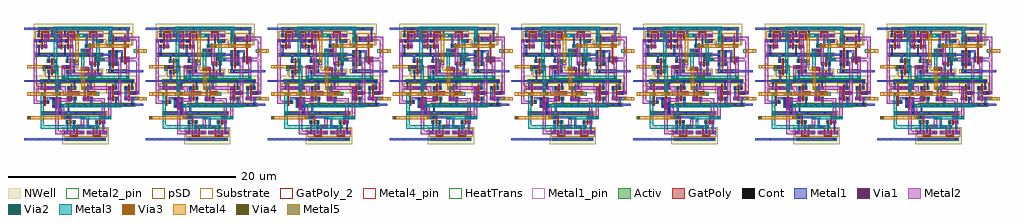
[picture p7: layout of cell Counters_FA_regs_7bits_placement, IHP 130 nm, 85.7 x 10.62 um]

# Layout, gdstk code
from math import pi, radians
import gdstk
lib = gdstk.Library(unit=1e-6, precision=5e-09)
def R(c, l, rs):  # rectangles x0, y0, x1, y1
    for r in rs: c.add(gdstk.rectangle(r[:2], r[2:], *l))
def A(c, l, x, y, w, h, nx, ny, dx, dy):  # array of equal rectangles
    R(c, l, [(x+i*dx, y+j*dy, x+i*dx+w, y+j*dy+h) for i in range(nx) for j in range(ny)])
Activ = (1, 0)
GatPoly = (5, 0)
GatPoly_2 = (5, 2)
Cont = (6, 0)
Metal1 = (8, 0)
Metal1_pin = (8, 2)
Metal2 = (10, 0)
Metal2_pin = (10, 2)
pSD = (14, 0)
Via1 = (19, 0)
Via2 = (29, 0)
Metal3 = (30, 0)
NWell = (31, 0)
Substrate = (40, 0)
Via3 = (49, 0)
Metal4 = (50, 0)
Metal4_pin = (50, 2)
HeatTrans = (51, 0)
Via4 = (66, 0)
Metal5 = (67, 0)

pmos_2_1 = lib.new_cell('pmos$2$1')
R(pmos_2_1, Activ, [(0,0,0.3,0.3), (0,0,0.81,0.3), (0.51,0,0.81,0.3)])
R(pmos_2_1, GatPoly, [(0.34,-0.18,0.47,0.48), (0.34,-0.18,0.47,0.48)])
R(pmos_2_1, Cont, [(0.07,0.07,0.23,0.23), (0.58,0.07,0.74,0.23)])
R(pmos_2_1, Metal1, [(0.07,0,0.23,0.3), (0.07,0,0.23,0.3), (0.58,0,0.74,0.3), (0.58,0,0.74,0.3)])
R(pmos_2_1, pSD, [(-0.18,-0.3,0.99,0.6)])
R(pmos_2_1, NWell, [(-0.31,-0.31,1.12,0.61)])
R(pmos_2_1, Substrate, [(0.51,0,0.81,0.3)])
R(pmos_2_1, HeatTrans, [(0.34,-0.18,0.47,0.48)])
pmos_2_1.add(gdstk.Label('pmos', (0.405,0.15), layer=63, texttype=0))
pmos_2_1.add(gdstk.Label('pmos', (0.405,0.15), layer=51, texttype=0))

nmos_2_1_2 = lib.new_cell('nmos$2$1$2')
R(nmos_2_1_2, Activ, [(0,0,0.3,0.3), (0,0,0.81,0.3), (0.51,0,0.81,0.3)])
R(nmos_2_1_2, GatPoly, [(0.34,-0.18,0.47,0.48)])
R(nmos_2_1_2, GatPoly_2, [(0.34,-0.18,0.47,0.48)])
R(nmos_2_1_2, Cont, [(0.07,0.07,0.23,0.23), (0.58,0.07,0.74,0.23)])
R(nmos_2_1_2, Metal1, [(0.07,0,0.23,0.3), (0.58,0,0.74,0.3)])
R(nmos_2_1_2, Metal1_pin, [(0.07,0,0.23,0.3), (0.58,0,0.74,0.3)])
R(nmos_2_1_2, HeatTrans, [(0.34,-0.18,0.47,0.48)])
nmos_2_1_2.add(gdstk.Label('nmos', (0.405,0.15), layer=63, texttype=0))
nmos_2_1_2.add(gdstk.Label('nmos', (0.405,0.15), layer=51, texttype=0))

nmos_1_1_1 = lib.new_cell('nmos$1$1$1')
R(nmos_1_1_1, Activ, [(0,0,0.3,0.3), (0,0,0.81,0.9), (0.51,0,0.81,0.3)])
R(nmos_1_1_1, GatPoly, [(0.34,-0.18,0.47,1.08)])
R(nmos_1_1_1, GatPoly_2, [(0.34,-0.18,0.47,1.08)])
R(nmos_1_1_1, Cont, [(0.07,0.07,0.23,0.23), (0.58,0.07,0.74,0.23), (0.07,0.67,0.23,0.83), (0.58,0.67,0.74,0.83)])
R(nmos_1_1_1, Metal1, [(0.07,0,0.23,0.9), (0.58,0,0.74,0.9)])
R(nmos_1_1_1, Metal1_pin, [(0.07,0,0.23,0.9), (0.58,0,0.74,0.9)])
R(nmos_1_1_1, HeatTrans, [(0.34,-0.18,0.47,1.08)])
nmos_1_1_1.add(gdstk.Label('nmos', (0.405,0.45), layer=63, texttype=0))
nmos_1_1_1.add(gdstk.Label('nmos', (0.405,0.45), layer=51, texttype=0))

via1_constraint_1_1_2 = lib.new_cell('Via1_constraint$1$1$2')
R(via1_constraint_1_1_2, Metal1, [(-0.02,0.025,0.27,0.27)])
R(via1_constraint_1_1_2, Metal2, [(-0.02,0,0.27,0.29)])
R(via1_constraint_1_1_2, Via1, [(0.03,0.05,0.22,0.24)])

nand_d2 = lib.new_cell('NAND_D2')
R(nand_d2, Activ, [(-0.055,-0.945,1.805,-0.645), (0.06,1.885,1.92,2.185)])
R(nand_d2, GatPoly, [(1.45,0.315,1.58,1.07), (0.4,0.655,0.53,1.07), (1.58,0.72,1.88,1.02), (0.1,0.77,0.4,1.07)])
R(nand_d2, Cont, [(0.13,-0.875,0.29,-0.715), (1.65,0.79,1.81,0.95), (0.17,0.84,0.33,1), (0.885,1.955,1.045,2.115)])
R(nand_d2, Metal1, [(-0.055,-0.875,1.805,-0.715), (0.13,-0.875,0.29,-0.31), (1.62,0.015,1.92,0.315), (1.69,0.015,1.89,0.315), (1.58,0.72,1.88,1.02), (0.1,0.77,0.4,1.07), (0.64,1.25,1.34,1.55), (0.13,1.55,0.29,2.115), (1.69,1.55,1.85,2.115), (0.06,1.955,1.92,2.115)])
R(nand_d2, Metal1_pin, [(-0.055,-0.875,1.805,-0.715), (1.58,0.72,1.88,1.02), (0.1,0.77,0.4,1.07), (0.06,1.955,1.92,2.115)])
R(nand_d2, Metal2, [(1.625,0.02,2.49,0.31), (2.2,0.02,2.49,1.58), (0.85,1.29,2.2,1.58)])
R(nand_d2, Metal2_pin, [(2.2,0.735,2.49,1.025)])
R(nand_d2, pSD, [(-0.165,-0.975,1.89,-0.615)])
R(nand_d2, NWell, [(-0.25,1.86,2.23,2.495)])
nand_d2.add(gdstk.FlexPath([(1.26,0.305),(1.26,0.51),(0.72,0.51),(0.72,0.315)], 0.16, ends="flush", simple_path=True, layer=8, datatype=0))  # Metal1
nand_d2.add(gdstk.Reference(pmos_2_1, (1.92,1.25), rotation=pi, x_reflection=True))
nand_d2.add(gdstk.Reference(pmos_2_1, (0.87,1.25), rotation=pi, x_reflection=True))
nand_d2.add(gdstk.Reference(nmos_2_1_2, (1.92,0.015), rotation=pi, x_reflection=True))
nand_d2.add(gdstk.Reference(nmos_1_1_1, (0.87,-0.31), rotation=pi, x_reflection=True))
nand_d2.add(gdstk.Reference(via1_constraint_1_1_2, (1.625,0.02)))
nand_d2.add(gdstk.Reference(via1_constraint_1_1_2, (0.85,1.29)))
nand_d2.add(gdstk.Label('VSS', (0.2,-0.75), layer=8, texttype=2))
nand_d2.add(gdstk.Label('VA', (1.68,0.93), layer=8, texttype=2))
nand_d2.add(gdstk.Label('VB', (0.205,0.97), layer=8, texttype=2))
nand_d2.add(gdstk.Label('VDD', (1.715,2.075), layer=8, texttype=2))
nand_d2.add(gdstk.Label('VDD', (0.155,2.075), layer=8, texttype=2))
nand_d2.add(gdstk.Label('VOUT', (2.31,0.835), layer=10, texttype=25))

nmos_4_1 = lib.new_cell('nmos$4$1')
R(nmos_4_1, Activ, [(0,0.04,0.3,0.34), (0.57,0.04,0.87,0.34), (0,0.115,0.87,0.265)])
R(nmos_4_1, GatPoly, [(0.37,-0.065,0.5,0.445)])
R(nmos_4_1, GatPoly_2, [(0.37,-0.065,0.5,0.445)])
R(nmos_4_1, Cont, [(0.07,0.11,0.23,0.27), (0.64,0.11,0.8,0.27)])
R(nmos_4_1, Metal1, [(0.07,0.06,0.23,0.32), (0.64,0.06,0.8,0.32)])
R(nmos_4_1, Metal1_pin, [(0.07,0.06,0.23,0.32), (0.64,0.06,0.8,0.32)])
R(nmos_4_1, HeatTrans, [(0.37,-0.065,0.5,0.445)])
nmos_4_1.add(gdstk.Label('nmos', (0.435,0.19), layer=63, texttype=0))
nmos_4_1.add(gdstk.Label('nmos', (0.435,0.19), layer=51, texttype=0))

pmos_4_3 = lib.new_cell('pmos$4$3')
R(pmos_4_3, Activ, [(0,-0.04,0.3,0.26), (0.57,-0.04,0.87,0.26), (0,0.035,0.87,0.185)])
R(pmos_4_3, GatPoly, [(0.37,-0.145,0.5,0.365), (0.37,-0.145,0.5,0.365)])
R(pmos_4_3, Cont, [(0.07,0.03,0.23,0.19), (0.64,0.03,0.8,0.19)])
R(pmos_4_3, Metal1, [(0.07,-0.02,0.23,0.24), (0.07,-0.02,0.23,0.25), (0.64,-0.02,0.8,0.24), (0.64,-0.02,0.8,0.24)])
R(pmos_4_3, pSD, [(-0.18,-0.265,1.05,0.485)])
R(pmos_4_3, NWell, [(-0.31,-0.37,1.18,0.56)])
R(pmos_4_3, Substrate, [(0.57,-0.04,0.87,0.26)])
R(pmos_4_3, HeatTrans, [(0.37,-0.145,0.5,0.365)])
pmos_4_3.add(gdstk.Label('pmos', (0.435,0.11), layer=63, texttype=0))
pmos_4_3.add(gdstk.Label('pmos', (0.435,0.11), layer=51, texttype=0))

via1_constraint_2_1 = lib.new_cell('Via1_constraint$2$1')
R(via1_constraint_2_1, Metal1, [(0,0,0.29,0.29)])
R(via1_constraint_2_1, Metal2, [(0,0,0.29,0.29)])
R(via1_constraint_2_1, Via1, [(0.05,0.05,0.24,0.24)])

tg_2c = lib.new_cell('TG_2C')
R(tg_2c, Activ, [(0.24,0.035,1.82,0.335), (0.24,2.325,1.82,2.625)])
R(tg_2c, GatPoly_2, [(0.26,0.415,0.81,0.715), (1.38,1.26,1.93,1.56)])
R(tg_2c, Cont, [(1.19,0.105,1.35,0.265), (0.44,2.395,0.6,2.555)])
R(tg_2c, Metal1, [(0.24,0.105,1.82,0.265), (0.26,0.465,0.8,0.645), (1.38,1.32,1.92,1.5), (0.42,1.75,0.54,2.04), (1.52,1.75,1.64,2.04), (0.24,2.395,1.82,2.555)])
R(tg_2c, Metal1_pin, [(0.24,0.105,1.82,0.265), (0.26,0.465,0.8,0.645), (0.95,0.88,1.11,1.035), (1.38,1.32,1.92,1.5), (0.24,2.395,1.82,2.555)])
R(tg_2c, pSD, [(0.13,0.005,1.93,0.365)])
R(tg_2c, NWell, [(0,2.345,2.06,2.935)])
tg_2c.add(gdstk.FlexPath([(1.03,2.04),(1.03,0.83)], 0.16, ends="flush", simple_path=True, layer=8, datatype=0))  # Metal1
tg_2c.add(gdstk.FlexPath([(0.46,2.04),(0.46,0.83)], 0.16, ends="flush", simple_path=True, layer=8, datatype=0))  # Metal1
tg_2c.add(gdstk.FlexPath([(0.31,1.895),(1.75,1.895),(1.75,1.895)], 0.29, ends="flush", simple_path=True, layer=10, datatype=0))  # Metal2
tg_2c.add(gdstk.FlexPath([(0.26,0.565),(0.81,0.565),(0.81,0.565)], 0.3, ends="flush", simple_path=True, layer=5, datatype=0))  # GatPoly
tg_2c.add(gdstk.FlexPath([(1.38,1.41),(1.93,1.41),(1.93,1.41)], 0.3, ends="flush", simple_path=True, layer=5, datatype=0))  # GatPoly
tg_2c.add(gdstk.FlexPath([(1.315,1.645),(1.315,1.34),(1.315,1.26)], 0.13, ends="flush", simple_path=True, layer=5, datatype=0))  # GatPoly
tg_2c.add(gdstk.FlexPath([(0.745,2.085),(0.745,2.185),(1.315,2.185),(1.315,2.085)], 0.13, ends="flush", simple_path=True, layer=5, datatype=0))  # GatPoly
tg_2c.add(gdstk.Reference(nmos_4_1, (0.31,0.77)))
tg_2c.add(gdstk.Reference(pmos_4_3, (0.31,1.79)))
tg_2c.add(gdstk.Reference(pmos_4_3, (0.88,1.79)))
tg_2c.add(gdstk.Reference(via1_constraint_2_1, (1.64,1.75)))
tg_2c.add(gdstk.Reference(via1_constraint_2_1, (0.13,1.75)))
tg_2c.add(gdstk.Label('VIN', (0.425,0.95), layer=8, texttype=25))
tg_2c.add(gdstk.Label('VOUT', (1.065,0.925), layer=8, texttype=25))
tg_2c.add(gdstk.Label('VDD', (0.33,2.455), layer=8, texttype=25))
tg_2c.add(gdstk.Label('VCTRLN', (0.495,0.515), layer=8, texttype=25))
tg_2c.add(gdstk.Label('VCTRLP', (1.66,1.35), layer=8, texttype=25))
tg_2c.add(gdstk.Label('VSS', (0.235,0.17), layer=8, texttype=25))

via2_constraint_1_5 = lib.new_cell('Via2_constraint$1$5')
R(via2_constraint_1_5, Metal2, [(-0.015,0,0.275,0.29)])
R(via2_constraint_1_5, Via2, [(0.035,0.05,0.225,0.24)])
R(via2_constraint_1_5, Metal3, [(-0.015,0,0.275,0.29)])

nmos_5_3 = lib.new_cell('nmos$5$3')
R(nmos_5_3, Activ, [(0,0,0.3,0.3), (0.57,0,0.87,0.3), (0,0.075,0.87,0.225)])
R(nmos_5_3, GatPoly, [(0.37,-0.105,0.5,0.405)])
R(nmos_5_3, GatPoly_2, [(0.37,-0.105,0.5,0.405)])
R(nmos_5_3, Cont, [(0.07,0.07,0.23,0.23), (0.64,0.07,0.8,0.23)])
R(nmos_5_3, Metal1, [(0.07,0.02,0.23,0.28), (0.64,0.02,0.8,0.28)])
R(nmos_5_3, Metal1_pin, [(0.07,0.02,0.23,0.28), (0.64,0.02,0.8,0.28)])
R(nmos_5_3, HeatTrans, [(0.37,-0.105,0.5,0.405)])
nmos_5_3.add(gdstk.Label('nmos', (0.435,0.15), layer=63, texttype=0))
nmos_5_3.add(gdstk.Label('nmos', (0.435,0.15), layer=51, texttype=0))

pmos_1_1_1_1 = lib.new_cell('pmos$1$1$1$1')
R(pmos_1_1_1_1, Activ, [(0,0,0.3,0.3), (0,0,0.81,0.3), (0.51,0,0.81,0.3)])
R(pmos_1_1_1_1, GatPoly, [(0.34,-0.18,0.47,0.48), (0.34,-0.18,0.47,0.48)])
R(pmos_1_1_1_1, Cont, [(0.07,0.07,0.23,0.23), (0.58,0.07,0.74,0.23)])
R(pmos_1_1_1_1, Metal1, [(0.07,0,0.23,0.3), (0.07,0,0.23,0.3), (0.58,0,0.74,0.3), (0.58,0,0.74,0.3)])
R(pmos_1_1_1_1, pSD, [(-0.18,-0.3,0.99,0.6)])
R(pmos_1_1_1_1, NWell, [(-0.31,-0.31,1.12,0.61)])
R(pmos_1_1_1_1, Substrate, [(0.51,0,0.81,0.3)])
R(pmos_1_1_1_1, HeatTrans, [(0.34,-0.18,0.47,0.48)])
pmos_1_1_1_1.add(gdstk.Label('pmos', (0.405,0.15), layer=63, texttype=0))
pmos_1_1_1_1.add(gdstk.Label('pmos', (0.405,0.15), layer=51, texttype=0))

inv_d1_5 = lib.new_cell('INV_D1$5')
R(inv_d1_5, Activ, [(0.28,0.03,1.15,0.33), (0.28,2.135,1.15,2.435)])
R(inv_d1_5, GatPoly, [(0.06,1.08,0.65,1.38), (0.65,1.11,0.78,1.325)])
R(inv_d1_5, GatPoly_2, [(0.06,1.08,0.65,1.38)])
R(inv_d1_5, Cont, [(0.35,0.1,0.51,0.26), (0.92,0.1,1.08,0.26), (0.13,1.15,0.29,1.31), (0.38,2.205,0.54,2.365)])
R(inv_d1_5, Metal1, [(0.28,0.1,1.15,0.26), (0.07,1.14,0.64,1.32), (0.28,2.205,1.15,2.365)])
R(inv_d1_5, Metal1_pin, [(0.28,0.1,1.15,0.26), (0.07,1.14,0.64,1.32), (0.89,1.14,1.08,1.32), (0.28,2.205,1.15,2.365)])
R(inv_d1_5, pSD, [(0.15,0,1.28,0.36)])
R(inv_d1_5, NWell, [(0,2.115,1.43,2.745)])
R(inv_d1_5, Substrate, [(0.82,1.505,1.12,1.805)])
inv_d1_5.add(gdstk.FlexPath([(0.46,1.805),(0.46,2.365)], 0.16, ends="flush", simple_path=True, layer=8, datatype=0))  # Metal1
inv_d1_5.add(gdstk.FlexPath([(0.985,0.585),(0.985,1.805)], 0.19, ends="flush", simple_path=True, layer=8, datatype=0))  # Metal1
inv_d1_5.add(gdstk.FlexPath([(0.43,0.865),(0.43,0.1)], 0.16, ends="flush", simple_path=True, layer=8, datatype=0))  # Metal1
inv_d1_5.add(gdstk.FlexPath([(0.715,1.11),(0.715,0.99)], 0.13, ends="flush", simple_path=True, layer=5, datatype=0))  # GatPoly
inv_d1_5.add(gdstk.Reference(nmos_5_3, (0.28,0.585)))
inv_d1_5.add(gdstk.Reference(pmos_1_1_1_1, (0.31,1.505)))
inv_d1_5.add(gdstk.Label('nmos', (0.715,0.655), layer=63, texttype=0))
inv_d1_5.add(gdstk.Label('VIN', (0.285,1.175), layer=8, texttype=25))
inv_d1_5.add(gdstk.Label('VOUT', (1.03,1.165), layer=8, texttype=25))
inv_d1_5.add(gdstk.Label('VDD', (0.655,2.28), layer=8, texttype=25))
inv_d1_5.add(gdstk.Label('VSS', (0.65,0.175), layer=8, texttype=25))

half_a = lib.new_cell('HALF_A')
R(half_a, Activ, [(2.215,0.235,2.645,0.535), (2.215,2.525,2.645,2.825), (4.225,2.525,4.425,2.825), (2.645,3.25,3.2,3.55), (2.645,5.355,3.2,5.655), (4.07,5.355,4.54,5.655)])
R(half_a, GatPoly, [(2.535,1.6,3.215,1.67)])
R(half_a, Cont, [(2.61,1.425,2.77,1.585)])
R(half_a, Metal1, [(2.215,0.305,2.645,0.465), (2.135,1.365,2.315,2.395), (2.135,2.215,3.665,2.395), (0.43,2.235,0.655,2.415), (2.215,2.595,2.645,2.755), (3.84,2.595,4,3.48), (4.225,2.595,4.425,2.755), (2.645,3.32,3.2,3.48), (2.645,5.425,3.2,5.585), (4.07,5.425,4.54,5.585)])
R(half_a, Metal2, [(1.505,1.32,1.715,1.61), (3.57,1.32,3.78,1.61), (2.545,1.65,2.835,2.125), (0.71,1.735,1,3.99), (0.71,3.7,2.64,3.99), (5.855,4.195,6.065,4.485), (3.21,4.275,4.43,4.565), (4.14,4.565,4.43,5.05), (4.14,4.75,5.61,5.05)])
R(half_a, pSD, [(2.325,0.585,2.535,1.335), (2.325,2.495,2.535,2.855), (2.775,3.22,3.07,3.58), (2.795,4.425,3.05,5.325), (4.22,4.425,4.36,5.325)])
R(half_a, Metal3, [(1.505,1.32,3.28,1.61), (3.57,1.32,6.355,1.61), (6.065,1.32,6.355,4.195), (0.14,2.125,2.545,2.415)])
half_a.add(gdstk.Reference(nand_d2, (4.48,3.47)))
half_a.add(gdstk.Reference(tg_2c, (0.395,2.86), x_reflection=True))
half_a.add(gdstk.Reference(tg_2c, (4.465,2.86), rotation=pi))
half_a.add(gdstk.Reference(via1_constraint_1_1_2, (2.94,4.275)))
half_a.add(gdstk.Reference(via1_constraint_1_1_2, (0.73,1.735)))
half_a.add(gdstk.Reference(via1_constraint_1_1_2, (2.37,3.81)))
half_a.add(gdstk.Reference(via1_constraint_1_1_2, (2.565,1.36)))
half_a.add(gdstk.Reference(via2_constraint_1_5, (2.56,2.125)))
half_a.add(gdstk.Reference(via1_constraint_1_1_2, (0.16,2.125)))
half_a.add(gdstk.Reference(via2_constraint_1_5, (0.155,2.125)))
half_a.add(gdstk.Reference(via1_constraint_1_1_2, (1.235,1.32)))
half_a.add(gdstk.Reference(via1_constraint_1_1_2, (3.3,1.32)))
half_a.add(gdstk.Reference(via2_constraint_1_5, (1.23,1.32)))
half_a.add(gdstk.Reference(via2_constraint_1_5, (3.295,1.32)))
half_a.add(gdstk.Reference(via1_constraint_1_1_2, (6.085,4.195)))
half_a.add(gdstk.Reference(via2_constraint_1_5, (6.08,4.195)))
half_a.add(gdstk.Reference(inv_d1_5, (2.92,3.22)))
half_a.add(gdstk.Reference(inv_d1_5, (1.495,3.22)))

pmos_3_1 = lib.new_cell('pmos$3$1')
R(pmos_3_1, Activ, [(0,0,0.3,0.3), (0,0,0.81,0.45), (0.51,0,0.81,0.3)])
R(pmos_3_1, GatPoly, [(0.34,-0.18,0.47,0.63), (0.34,-0.18,0.47,0.63)])
R(pmos_3_1, Cont, [(0.07,0.145,0.23,0.305), (0.58,0.145,0.74,0.305)])
R(pmos_3_1, Metal1, [(0.07,0,0.23,0.45), (0.07,0,0.23,0.45), (0.58,0,0.74,0.45), (0.58,0,0.74,0.45)])
R(pmos_3_1, pSD, [(-0.18,-0.3,0.99,0.75)])
R(pmos_3_1, NWell, [(-0.31,-0.31,1.12,0.76)])
R(pmos_3_1, Substrate, [(0.51,0,0.81,0.3)])
R(pmos_3_1, HeatTrans, [(0.34,-0.18,0.47,0.63)])
pmos_3_1.add(gdstk.Label('pmos', (0.405,0.225), layer=63, texttype=0))
pmos_3_1.add(gdstk.Label('pmos', (0.405,0.225), layer=51, texttype=0))

nmos_1_2_2_1 = lib.new_cell('nmos$1$2$2$1')
R(nmos_1_2_2_1, Activ, [(0,0.025,0.3,0.325), (0,0.025,0.81,1.375), (0.51,0.025,0.81,0.325)])
R(nmos_1_2_2_1, GatPoly, [(0.34,-0.18,0.47,1.53)])
R(nmos_1_2_2_1, GatPoly_2, [(0.34,-0.155,0.47,1.555)])
A(nmos_1_2_2_1, Cont, 0.07, 0.095, 0.16, 0.16, 1, 4, 0, 0.35)
A(nmos_1_2_2_1, Cont, 0.58, 0.095, 0.16, 0.16, 1, 4, 0, 0.35)
R(nmos_1_2_2_1, Metal1, [(0.07,0.025,0.23,1.375), (0.58,0.025,0.74,1.375)])
R(nmos_1_2_2_1, Metal1_pin, [(0.07,0.025,0.23,1.375), (0.58,0.025,0.74,1.375)])
R(nmos_1_2_2_1, HeatTrans, [(0.34,-0.18,0.47,1.53)])
nmos_1_2_2_1.add(gdstk.Label('nmos', (0.405,0.675), layer=63, texttype=0))
nmos_1_2_2_1.add(gdstk.Label('nmos', (0.405,0.675), layer=51, texttype=0))

nmos_3_1 = lib.new_cell('nmos$3$1')
R(nmos_3_1, Activ, [(0,0.025,0.3,0.325), (0,0.025,0.81,0.475), (0.51,0.025,0.81,0.325)])
R(nmos_3_1, GatPoly, [(0.34,-0.18,0.47,0.63)])
R(nmos_3_1, GatPoly_2, [(0.34,-0.155,0.47,0.655)])
R(nmos_3_1, Cont, [(0.07,0.17,0.23,0.33), (0.58,0.17,0.74,0.33)])
R(nmos_3_1, Metal1, [(0.07,0.025,0.23,0.475), (0.58,0.025,0.74,0.475)])
R(nmos_3_1, Metal1_pin, [(0.07,0.025,0.23,0.475), (0.58,0.025,0.74,0.475)])
R(nmos_3_1, HeatTrans, [(0.34,-0.18,0.47,0.63)])
nmos_3_1.add(gdstk.Label('nmos', (0.405,0.225), layer=63, texttype=0))
nmos_3_1.add(gdstk.Label('nmos', (0.405,0.225), layer=51, texttype=0))

nand_d3 = lib.new_cell('NAND_D3')
R(nand_d3, Activ, [(0.31,0.055,2.055,0.355), (0.31,3.785,2.17,4.085)])
R(nand_d3, GatPoly, [(1.7,1.605,1.83,2.61), (0.65,2.075,0.78,2.61), (0.35,2.31,0.65,2.61), (1.83,2.31,2.13,2.61)])
R(nand_d3, Cont, [(0.56,0.125,0.72,0.285), (0.42,2.38,0.58,2.54), (1.9,2.38,2.06,2.54), (1.175,3.855,1.335,4.015)])
R(nand_d3, Metal1, [(0.335,0.085,2.055,0.325), (0.38,0.125,0.54,0.775), (1.89,1.11,2.18,1.4), (0.35,2.31,0.65,2.61), (1.83,2.31,2.13,2.61), (0.89,2.79,1.59,3.24), (0.38,3.09,0.54,4.015), (1.94,3.09,2.1,4.015), (0.31,3.855,2.17,4.015)])
R(nand_d3, Metal1_pin, [(0.38,0.125,2.055,0.285), (0.35,2.31,0.65,2.61), (1.83,2.31,2.13,2.61), (0.31,3.855,2.17,4.015)])
R(nand_d3, Metal2, [(1.89,1.08,3.035,1.375), (2.745,1.08,3.035,3.235), (1.09,2.945,3.035,3.235)])
R(nand_d3, Metal2_pin, [(2.745,1.85,3.035,2.14)])
R(nand_d3, pSD, [(0.12,0.025,2.175,0.385)])
R(nand_d3, NWell, [(0,3.55,2.48,4.395)])
nand_d3.add(gdstk.FlexPath([(1.51,1.45),(1.51,1.955),(0.97,1.955),(0.97,1.76)], 0.16, ends="flush", simple_path=True, layer=8, datatype=0))  # Metal1
nand_d3.add(gdstk.Reference(pmos_3_1, (2.17,2.79), rotation=pi, x_reflection=True))
nand_d3.add(gdstk.Reference(pmos_3_1, (1.12,2.79), rotation=pi, x_reflection=True))
nand_d3.add(gdstk.Reference(nmos_1_2_2_1, (1.12,0.66), rotation=pi, x_reflection=True))
nand_d3.add(gdstk.Reference(nmos_3_1, (2.17,0.985), rotation=pi, x_reflection=True))
nand_d3.add(gdstk.Reference(via1_constraint_1_1_2, (1.89,1.085)))
nand_d3.add(gdstk.Reference(via1_constraint_1_1_2, (1.09,2.945)))
nand_d3.add(gdstk.Label('VB', (0.455,2.51), layer=8, texttype=2))
nand_d3.add(gdstk.Label('VA', (1.935,2.52), layer=8, texttype=2))
nand_d3.add(gdstk.Label('VDD', (1.965,3.975), layer=8, texttype=2))
nand_d3.add(gdstk.Label('VDD', (0.405,3.975), layer=8, texttype=2))
nand_d3.add(gdstk.Label('VSS', (0.45,0.225), layer=8, texttype=2))
nand_d3.add(gdstk.Label('VOUT', (2.935,2.035), layer=10, texttype=2))

pmos_27 = lib.new_cell('pmos$27')
R(pmos_27, Activ, [(0,0,0.3,0.3), (0.57,0,0.87,0.3), (0,0.075,0.87,0.225)])
R(pmos_27, GatPoly, [(0.37,-0.105,0.5,0.405), (0.37,-0.105,0.5,0.405)])
R(pmos_27, Cont, [(0.07,0.07,0.23,0.23), (0.64,0.07,0.8,0.23)])
R(pmos_27, Metal1, [(0.07,0.02,0.23,0.28), (0.07,0.02,0.23,0.28), (0.64,0.02,0.8,0.28), (0.64,0.02,0.8,0.28)])
R(pmos_27, pSD, [(-0.18,-0.225,1.05,0.525)])
R(pmos_27, NWell, [(-0.31,-0.31,1.18,0.61)])
R(pmos_27, Substrate, [(0.57,0,0.87,0.3)])
R(pmos_27, HeatTrans, [(0.37,-0.105,0.5,0.405)])
pmos_27.add(gdstk.Label('pmos', (0.435,0.15), layer=63, texttype=0))
pmos_27.add(gdstk.Label('pmos', (0.435,0.15), layer=51, texttype=0))

nmos_1_2_3 = lib.new_cell('nmos$1$2$3')
R(nmos_1_2_3, Activ, [(0,0,0.3,0.3), (0.57,0,0.87,0.3), (0,0.075,0.87,0.225)])
R(nmos_1_2_3, GatPoly, [(0.37,-0.105,0.5,0.405)])
R(nmos_1_2_3, GatPoly_2, [(0.37,-0.105,0.5,0.405)])
R(nmos_1_2_3, Cont, [(0.07,0.07,0.23,0.23), (0.64,0.07,0.8,0.23)])
R(nmos_1_2_3, Metal1, [(0.07,0.02,0.23,0.28), (0.64,0.02,0.8,0.28)])
R(nmos_1_2_3, Metal1_pin, [(0.07,0.02,0.23,0.28), (0.64,0.02,0.8,0.28)])
R(nmos_1_2_3, HeatTrans, [(0.37,-0.105,0.5,0.405)])
nmos_1_2_3.add(gdstk.Label('nmos', (0.435,0.15), layer=63, texttype=0))
nmos_1_2_3.add(gdstk.Label('nmos', (0.435,0.15), layer=51, texttype=0))

inv = lib.new_cell('INV')
R(inv, Activ, [(-0.6,-1.445,1.235,-1.145), (-0.345,0.845,0.955,1.145)])
R(inv, GatPoly, [(-0.045,-0.365,0.085,0.135), (-0.045,0.645,0.655,0.775)])
R(inv, GatPoly_2, [(-0.045,-0.285,0.085,0.135)])
R(inv, Cont, [(-0.345,-1.375,-0.185,-1.215), (0.24,0.915,0.4,1.075)])
R(inv, Metal1, [(-0.6,-1.375,1.235,-1.215), (-0.345,-1.375,-0.185,-0.49), (-0.345,0.26,-0.185,1.075), (0.205,0.26,0.405,0.52), (0.795,0.26,0.955,1.075), (-0.345,0.915,0.955,1.075)])
R(inv, Metal1_pin, [(-0.6,-1.375,1.235,-1.215), (-0.345,-1.375,-0.185,-1.215), (-0.345,0.915,-0.185,1.075), (-0.345,0.915,0.955,1.075), (0.795,0.915,0.955,1.075)])
R(inv, Metal2, [(0.205,-0.69,0.405,0.49)])
R(inv, Metal2_pin, [(0.205,-0.195,0.405,-0.01)])
R(inv, pSD, [(-0.73,-1.475,1.365,-1.115)])
r = gdstk.Reference(pmos_27, (-0.415,0.24)); r.repetition = gdstk.Repetition(2, 1, v1=(0.57,0), v2=(0,0)); inv.add(r)
inv.add(gdstk.Reference(nmos_1_2_3, (-0.415,-0.69)))

via1_constraint_7 = lib.new_cell('Via1_constraint$7')
R(via1_constraint_7, Metal1, [(-0.005,-0.005,0.285,0.285)])
R(via1_constraint_7, Metal2, [(-0.005,-0.005,0.285,0.285)])
R(via1_constraint_7, Via1, [(0.045,0.045,0.235,0.235)])

inv_d3 = lib.new_cell('INV_D3')
R(inv_d3, GatPoly, [(0.435,1.055,0.685,1.355), (2.145,1.055,2.395,1.355), (2.715,1.055,2.965,1.355)])
R(inv_d3, GatPoly_2, [(0.435,1.055,0.685,1.355), (2.145,1.055,2.395,1.355), (2.715,1.055,2.965,1.355)])
R(inv_d3, Cont, [(0.385,-0.1,0.545,0.06), (0.515,1.125,0.675,1.285), (2.225,1.125,2.385,1.285), (2.795,1.125,2.955,1.285)])
A(inv_d3, Metal1, 0.89, 0.56, 0.29, 0.03, 3, 1, 1.14, 0)
R(inv_d3, Metal1, [(0.13,-0.1,4.245,0.06), (0.465,1.115,0.685,1.295), (0.465,1.115,3.01,1.295), (2.175,1.115,2.395,1.295), (2.785,1.115,2.965,1.295), (0.89,1.79,1.18,1.82), (2.025,1.79,2.315,1.82), (3.17,1.79,3.46,1.82), (0.385,2.19,3.965,2.35)])
R(inv_d3, Metal1_pin, [(0.13,-0.1,4.245,0.06), (0.385,-0.1,0.545,0.06), (0.465,1.115,0.685,1.295), (2.175,1.115,2.395,1.295), (2.785,1.115,2.965,1.295), (0.385,2.19,0.545,2.35), (0.385,2.19,3.965,2.35)])
R(inv_d3, Metal2, [(0.935,1.565,3.415,1.765)])
R(inv_d3, NWell, [(0.005,2.125,4.345,2.73)])
r = gdstk.Reference(inv, (0.73,1.275)); r.repetition = gdstk.Repetition(2, 1, v1=(2.28,0), v2=(0,0)); inv_d3.add(r)
inv_d3.add(gdstk.Reference(inv, (2.48,1.275), rotation=pi, x_reflection=True))
inv_d3.add(gdstk.Reference(via1_constraint_7, (0.895,0.595)))
inv_d3.add(gdstk.Reference(via1_constraint_7, (2.035,0.595)))
inv_d3.add(gdstk.Reference(via1_constraint_7, (3.175,0.595)))
inv_d3.add(gdstk.Reference(via1_constraint_7, (0.895,1.505)))
inv_d3.add(gdstk.Reference(via1_constraint_7, (2.03,1.505)))
inv_d3.add(gdstk.Reference(via1_constraint_7, (3.175,1.505)))
inv_d3.add(gdstk.Label('VSS', (0.5,0.035), layer=8, texttype=2))
inv_d3.add(gdstk.Label('VIN', (0.675,1.235), layer=8, texttype=2))
inv_d3.add(gdstk.Label('VIN', (0.675,1.235), layer=8, texttype=2))
inv_d3.add(gdstk.Label('VIN', (0.675,1.235), layer=8, texttype=2))
inv_d3.add(gdstk.Label('VDD', (0.515,2.325), layer=8, texttype=2))
inv_d3.add(gdstk.Label('VIN', (0.655,1.19), layer=8, texttype=25))
inv_d3.add(gdstk.Label('VDD', (1.315,2.265), layer=8, texttype=25))
inv_d3.add(gdstk.Label('VSS', (1.515,-0.02), layer=8, texttype=25))
inv_d3.add(gdstk.Label('VOUT', (3.325,1.23), layer=10, texttype=25))

nmos_8 = lib.new_cell('nmos$8')
R(nmos_8, Activ, [(0,0,0.3,0.3), (0.57,0,0.87,0.3), (0,0.075,0.87,0.225)])
R(nmos_8, GatPoly, [(0.37,-0.105,0.5,0.405)])
R(nmos_8, GatPoly_2, [(0.37,-0.105,0.5,0.405)])
R(nmos_8, Cont, [(0.07,0.07,0.23,0.23), (0.64,0.07,0.8,0.23)])
R(nmos_8, Metal1, [(0.07,0.02,0.23,0.28), (0.64,0.02,0.8,0.28)])
R(nmos_8, Metal1_pin, [(0.07,0.02,0.23,0.28), (0.64,0.02,0.8,0.28)])
R(nmos_8, HeatTrans, [(0.37,-0.105,0.5,0.405)])
nmos_8.add(gdstk.Label('nmos', (0.435,0.15), layer=63, texttype=0))
nmos_8.add(gdstk.Label('nmos', (0.435,0.15), layer=51, texttype=0))

pmos_1_5 = lib.new_cell('pmos$1$5')
R(pmos_1_5, Activ, [(0,0,0.3,0.3), (0,0,0.81,0.3), (0.51,0,0.81,0.3)])
R(pmos_1_5, GatPoly, [(0.34,-0.18,0.47,0.48), (0.34,-0.18,0.47,0.48)])
R(pmos_1_5, Cont, [(0.07,0.07,0.23,0.23), (0.58,0.07,0.74,0.23)])
R(pmos_1_5, Metal1, [(0.07,0,0.23,0.3), (0.07,0,0.23,0.3), (0.58,0,0.74,0.3), (0.58,0,0.74,0.3)])
R(pmos_1_5, pSD, [(-0.18,-0.3,0.99,0.6)])
R(pmos_1_5, NWell, [(-0.31,-0.31,1.12,0.61)])
R(pmos_1_5, Substrate, [(0.51,0,0.81,0.3)])
R(pmos_1_5, HeatTrans, [(0.34,-0.18,0.47,0.48)])
pmos_1_5.add(gdstk.Label('pmos', (0.405,0.15), layer=63, texttype=0))
pmos_1_5.add(gdstk.Label('pmos', (0.405,0.15), layer=51, texttype=0))

inv_d1_1_2_1 = lib.new_cell('INV_D1$1$2$1')
R(inv_d1_1_2_1, Activ, [(0.28,0.03,1.15,0.33), (0.28,2.32,1.15,2.62)])
R(inv_d1_1_2_1, GatPoly, [(0.06,1.08,0.65,1.38), (0.65,1.11,0.78,1.325)])
R(inv_d1_1_2_1, GatPoly_2, [(0.06,1.08,0.65,1.38)])
R(inv_d1_1_2_1, Cont, [(0.645,0.1,0.805,0.26), (0.13,1.15,0.29,1.31)])
R(inv_d1_1_2_1, Metal1, [(0.28,0.1,1.15,0.26), (0.07,1.14,0.64,1.32), (0.28,2.39,1.15,2.55)])
R(inv_d1_1_2_1, Metal1_pin, [(0.28,0.1,1.15,0.26), (0.07,1.14,0.64,1.32), (0.89,1.14,1.08,1.32), (0.28,2.39,1.15,2.55)])
R(inv_d1_1_2_1, pSD, [(0.15,0,1.28,0.36)])
R(inv_d1_1_2_1, NWell, [(0,2.115,1.43,2.865)])
R(inv_d1_1_2_1, Substrate, [(0.82,1.505,1.12,1.805)])
inv_d1_1_2_1.add(gdstk.FlexPath([(0.46,1.805),(0.46,2.55)], 0.16, ends="flush", simple_path=True, layer=8, datatype=0))  # Metal1
inv_d1_1_2_1.add(gdstk.FlexPath([(0.985,0.585),(0.985,1.805)], 0.19, ends="flush", simple_path=True, layer=8, datatype=0))  # Metal1
inv_d1_1_2_1.add(gdstk.FlexPath([(0.43,0.865),(0.43,0.1)], 0.16, ends="flush", simple_path=True, layer=8, datatype=0))  # Metal1
inv_d1_1_2_1.add(gdstk.FlexPath([(0.715,1.11),(0.715,0.99)], 0.13, ends="flush", simple_path=True, layer=5, datatype=0))  # GatPoly
inv_d1_1_2_1.add(gdstk.Reference(nmos_8, (0.28,0.585)))
inv_d1_1_2_1.add(gdstk.Reference(pmos_1_5, (0.31,1.505)))
inv_d1_1_2_1.add(gdstk.Label('nmos', (0.715,0.655), layer=63, texttype=0))
inv_d1_1_2_1.add(gdstk.Label('VDD', (0.655,2.465), layer=8, texttype=25))
inv_d1_1_2_1.add(gdstk.Label('VIN', (0.285,1.175), layer=8, texttype=25))
inv_d1_1_2_1.add(gdstk.Label('VOUT', (1.03,1.165), layer=8, texttype=25))
inv_d1_1_2_1.add(gdstk.Label('VSS', (0.65,0.175), layer=8, texttype=25))

via3_constraint_1_2 = lib.new_cell('Via3_constraint$1$2')
R(via3_constraint_1_2, Metal3, [(0,0,0.29,0.29)])
R(via3_constraint_1_2, Via3, [(0.05,0.05,0.24,0.24)])
R(via3_constraint_1_2, Metal4, [(0,0,0.29,0.29)])

half_b = lib.new_cell('HALF_B')
R(half_b, Activ, [(3.965,0.245,4.43,0.545), (6.01,0.245,6.56,0.545), (4.245,2.535,4.43,2.835), (3.69,4.825,4.295,5.125)])
R(half_b, Metal1, [(3.965,0.315,4.43,0.475), (6.01,0.315,6.56,0.475), (4.405,2.225,4.455,2.405), (4.245,2.605,4.43,2.765), (6.01,2.605,6.79,2.765), (5.855,2.965,5.925,3.145), (3.69,4.895,4.295,5.055)])
R(half_b, Metal2, [(5.505,1.335,5.795,1.87), (7.875,1.725,8.085,2.015), (4.89,1.83,5.18,3.56), (4.405,2.135,4.615,2.425), (5.715,2.945,5.925,3.235), (8.12,3.245,8.41,4.805), (4.165,3.71,4.51,4), (2.485,3.88,2.775,4.515)])
R(half_b, pSD, [(4.215,0.595,4.32,1.345), (6.12,0.79,6.38,1.345), (3.84,4.025,4.185,4.775), (2.67,4.61,3.84,4.775)])
R(half_b, Metal3, [(5.505,1.335,5.795,3.235), (7.875,1.725,8.085,2.015), (4.725,1.765,4.935,2.055), (4.165,2.425,4.455,4), (5.505,2.945,6.215,3.235), (2.775,4.515,8.41,4.805)])
R(half_b, NWell, [(3.97,3.91,4.055,5.37)])
R(half_b, Metal4, [(4.89,1.755,8.38,2.055)])
half_b.add(gdstk.Reference(via2_constraint_1_5, (4.18,3.71)))
half_b.add(gdstk.Reference(via2_constraint_1_5, (4.13,2.135)))
half_b.add(gdstk.Reference(via1_constraint_1_1_2, (4.135,2.135)))
half_b.add(gdstk.Reference(via1_constraint_1_1_2, (4.46,3.71)))
half_b.add(gdstk.Reference(tg_2c, (6.115,2.5), rotation=pi, x_reflection=True))
half_b.add(gdstk.Reference(nand_d3, (6.25,4.33), x_reflection=True))
half_b.add(gdstk.Reference(tg_2c, (4.19,2.87), x_reflection=True))
half_b.add(gdstk.Reference(inv_d3, (0,2.665), x_reflection=True))
half_b.add(gdstk.Reference(inv_d1_1_2_1, (2.54,2.505)))
half_b.add(gdstk.Reference(via1_constraint_1_1_2, (5.945,2.945)))
half_b.add(gdstk.Reference(via1_constraint_1_1_2, (5.525,1.33)))
half_b.add(gdstk.Reference(via2_constraint_1_5, (5.94,2.945)))
half_b.add(gdstk.Reference(via2_constraint_1_5, (5.52,1.33)))
half_b.add(gdstk.Reference(via1_constraint_1_1_2, (4.91,3.27)))
half_b.add(gdstk.Reference(via1_constraint_1_1_2, (2.505,3.59)))
half_b.add(gdstk.Reference(via2_constraint_1_5, (2.5,4.515)))
half_b.add(gdstk.Reference(via2_constraint_1_5, (8.135,4.515)))
half_b.add(gdstk.Reference(via3_constraint_1_2, (4.935,1.755)))
half_b.add(gdstk.Reference(via2_constraint_1_5, (4.95,1.755)))
half_b.add(gdstk.Reference(via1_constraint_1_1_2, (8.105,1.725)))
half_b.add(gdstk.Reference(via2_constraint_1_5, (8.1,1.725)))
half_b.add(gdstk.Reference(via3_constraint_1_2, (8.085,1.725)))
half_b.add(gdstk.Reference(via1_constraint_1_1_2, (4.955,1.755)))

ff_d_placement = lib.new_cell('FF_D_placement')
R(ff_d_placement, Activ, [(5.195,3.26,6.51,3.56), (7.38,3.26,7.94,3.56), (5.875,5.365,6.51,5.665), (7.38,5.365,7.94,5.665)])
R(ff_d_placement, Metal1, [(7.38,3.33,7.94,3.49), (5.875,5.435,6.51,5.595), (7.38,5.435,7.94,5.595)])
R(ff_d_placement, pSD, [(5.325,3.23,6.38,3.59), (7.51,3.23,7.815,3.59), (7.53,4.435,7.79,5.335), (2.185,5.88,2.67,6.78)])
R(ff_d_placement, NWell, [(5.475,4.425,6.23,5.12), (6.115,5.12,6.23,5.975), (2.315,5.905,2.54,6.79)])
ff_d_placement.add(gdstk.Reference(half_a, (6.97,0.01), rotation=pi, x_reflection=True))
ff_d_placement.add(gdstk.Reference(half_b, (0,10.49), x_reflection=True))
ff_d_placement.add(gdstk.Reference(inv_d1_1_2_1, (0.885,7.985), x_reflection=True))
ff_d_placement.add(gdstk.Reference(inv_d1_5, (7.66,3.23), rotation=pi, x_reflection=True))
ff_d_placement.add(gdstk.Reference(inv_d1_5, (9.09,3.23), rotation=pi, x_reflection=True))

ff_d_routed = lib.new_cell('FF_D_routed')
R(ff_d_routed, Cont, [(5.755,1.38,5.915,1.54)])
R(ff_d_routed, Metal1, [(0,0.315,3.595,0.475), (3.545,2.225,3.615,2.405), (6.045,3.33,7.36,3.49), (9.66,3.33,10.49,3.49), (0,5.435,1.42,5.595), (9.155,6.285,10.49,6.445), (4.47,7.1,4.635,7.39), (1.09,8.94,1.315,9.12), (0,10.015,1.235,10.175)])
R(ff_d_routed, Metal1_pin, [(5.685,4.37,6.255,4.55), (7.43,4.37,7.62,4.55), (7.87,4.37,8.44,4.55), (1.805,6.665,2.375,6.845), (2.625,6.665,2.815,6.845)])
R(ff_d_routed, Metal2, [(2.74,0.83,3.485,1.12), (2.74,0.83,3.03,3.995), (7.39,2.135,7.68,4.74), (3.255,2.425,3.545,3.2), (8.265,3.2,8.555,4.31), (2.74,3.705,4.045,3.995), (9.085,3.81,10.14,4.11), (2.52,4.25,2.73,4.54), (8.265,4.31,8.555,7.545), (9.845,4.325,10.135,7.25), (5.18,4.74,7.39,5.03), (0.85,5.025,1.14,8.885), (4.02,5.95,4.305,8.415), (4.02,5.95,5.035,6.24), (2.625,6.39,2.915,6.6), (4.515,6.89,4.805,7.1), (7.065,7.255,8.555,7.545), (7.245,8.475,7.455,8.765)])
R(ff_d_routed, Metal2_pin, [(9.85,3.81,10.14,4.11), (9.845,8.01,10.135,8.3)])
R(ff_d_routed, Metal3, [(3.255,3.2,8.265,3.49), (2.73,4.54,3.02,6.89), (5.335,4.74,5.545,5.03), (2.625,6.6,2.915,10.255), (4.305,7.1,4.515,7.39), (7.455,8.765,7.75,10.255), (4.805,9.37,5.17,9.66), (2.625,9.965,7.75,10.255)])
R(ff_d_routed, Metal4, [(5.045,4.74,5.335,6.49), (5.045,6.49,5.335,6.78), (4.515,7.39,4.805,9.66)])
ff_d_routed.add(gdstk.Reference(ff_d_placement, (0.85,0)))
ff_d_routed.add(gdstk.Reference(via1_constraint_1_1_2, (0.87,8.885)))
ff_d_routed.add(gdstk.Reference(via1_constraint_1_1_2, (9.865,4.325)))
ff_d_routed.add(gdstk.Reference(via1_constraint_1_1_2, (8.815,3.82)))
ff_d_routed.add(gdstk.Reference(via1_constraint_1_1_2, (8.285,4.31)))
ff_d_routed.add(gdstk.Reference(via3_constraint_1_2, (4.965,6.49)))
ff_d_routed.add(gdstk.Reference(via1_constraint_1_1_2, (7.41,4.74)))
ff_d_routed.add(gdstk.Reference(via3_constraint_1_2, (5.045,4.74)))
ff_d_routed.add(gdstk.Reference(via2_constraint_1_5, (5.06,4.74)))
ff_d_routed.add(gdstk.Reference(via1_constraint_1_1_2, (3.275,2.135)))
ff_d_routed.add(gdstk.Reference(via2_constraint_1_5, (8.28,3.2)))
ff_d_routed.add(gdstk.Reference(via2_constraint_1_5, (3.27,3.2)))
ff_d_routed.add(gdstk.Reference(via1_constraint_1_1_2, (3.775,3.765)))
ff_d_routed.add(gdstk.Reference(via1_constraint_1_1_2, (4.535,7.1)))
ff_d_routed.add(gdstk.Reference(via2_constraint_1_5, (4.53,7.1)))
ff_d_routed.add(gdstk.Reference(via3_constraint_1_2, (4.515,7.1)))
ff_d_routed.add(gdstk.Reference(via3_constraint_1_2, (4.515,9.37)))
ff_d_routed.add(gdstk.Reference(via2_constraint_1_5, (5.185,9.37)))
ff_d_routed.add(gdstk.Reference(via1_constraint_1_1_2, (2.75,4.25)))
ff_d_routed.add(gdstk.Reference(via2_constraint_1_5, (2.745,4.25)))
ff_d_routed.add(gdstk.Reference(via2_constraint_1_5, (2.64,6.6)))
ff_d_routed.add(gdstk.Reference(via1_constraint_1_1_2, (2.645,6.6)))
ff_d_routed.add(gdstk.Reference(via1_constraint_7, (7.46,8.48)))
ff_d_routed.add(gdstk.Reference(via2_constraint_1_5, (7.47,8.475)))
ff_d_routed.add(gdstk.Label('VD', (5.965,4.41), layer=8, texttype=25))
ff_d_routed.add(gdstk.Label('VCLK', (8.14,4.4), layer=8, texttype=25))
ff_d_routed.add(gdstk.Label('VCLKN', (7.565,4.41), layer=8, texttype=25))
ff_d_routed.add(gdstk.Label('VRESET', (2.11,6.805), layer=8, texttype=25))
ff_d_routed.add(gdstk.Label('VRESETN', (2.65,6.815), layer=8, texttype=25))
ff_d_routed.add(gdstk.Label('VDD', (2.735,10.095), layer=8, texttype=25))
ff_d_routed.add(gdstk.Label('VSS', (2.11,2.67), layer=8, texttype=25))
ff_d_routed.add(gdstk.Label('VQ', (10,8.115), layer=10, texttype=25))
ff_d_routed.add(gdstk.Label('VQN', (9.98,3.965), layer=10, texttype=25))

via1_constraint_1_8 = lib.new_cell('Via1_constraint$1$8')
R(via1_constraint_1_8, Metal1, [(0,0,0.29,0.29)])
R(via1_constraint_1_8, Metal2, [(0,0,0.29,0.29)])
R(via1_constraint_1_8, Via1, [(0.05,0.05,0.24,0.24)])

via2_constraint_7 = lib.new_cell('Via2_constraint$7')
R(via2_constraint_7, Metal2, [(0,0,0.29,0.29)])
R(via2_constraint_7, Via2, [(0.05,0.05,0.24,0.24)])
R(via2_constraint_7, Metal3, [(0,0,0.29,0.29)])

via4_constraint_3 = lib.new_cell('Via4_constraint$3')
R(via4_constraint_3, Metal4, [(0,0,0.29,0.29)])
R(via4_constraint_3, Via4, [(0.05,0.05,0.24,0.24)])
R(via4_constraint_3, Metal5, [(0,0,0.29,0.29)])

ff_d = lib.new_cell('FF_D')
R(ff_d, GatPoly, [(6.705,7.25,6.77,7.55), (6.77,7.25,7.07,7.55), (6.35,8.88,6.645,8.935)])
R(ff_d, Cont, [(3.775,2.225,3.935,2.385), (6.875,2.225,7.035,2.385), (5.255,6.5,5.415,6.66), (6.84,7.32,7,7.48), (6.31,7.345,6.47,7.505), (5.465,8.105,5.625,8.265), (6.42,8.95,6.58,9.11)])
R(ff_d, Metal1, [(6.125,4.5,6.415,4.55)])
R(ff_d, Metal1_pin, [(1.225,0.325,1.355,0.455), (1.595,2.625,1.725,2.755), (0.095,5.455,0.225,5.585), (10.34,6.3,10.47,6.43), (10.34,6.3,10.47,6.43), (1.005,7.745,1.135,7.875), (1.255,10.035,1.385,10.165)])
R(ff_d, Metal2, [(6.415,4.21,6.625,4.5), (1.635,6.4,1.925,6.61)])
R(ff_d, Metal3, [(3.545,2.135,3.755,2.425), (9.64,3.81,9.85,4.1), (6.415,4.21,6.625,4.5), (1.635,6.4,1.925,6.61), (9.635,8.01,9.845,8.3)])
R(ff_d, Metal4, [(0.29,2.135,3.255,2.425), (9.85,3.81,10.795,4.1), (0.3,4.21,6.125,4.5), (0.295,6.61,1.925,6.9), (9.845,8.01,10.8,8.3)])
R(ff_d, Metal4_pin, [(0.29,2.135,0.58,2.425), (10.505,3.81,10.795,4.1), (0.3,4.21,0.59,4.5), (0.295,6.61,0.585,6.9), (10.51,8.01,10.8,8.3)])
ff_d.add(gdstk.Reference(ff_d_routed, (0,0)))
ff_d.add(gdstk.Reference(via3_constraint_1_2, (9.845,8.01)))
ff_d.add(gdstk.Reference(via2_constraint_1_5, (9.86,8.01)))
ff_d.add(gdstk.Reference(via2_constraint_1_5, (9.865,3.81)))
ff_d.add(gdstk.Reference(via3_constraint_1_2, (9.85,3.81)))
ff_d.add(gdstk.Reference(via2_constraint_1_5, (3.27,2.135)))
ff_d.add(gdstk.Reference(via3_constraint_1_2, (3.255,2.135)))
ff_d.add(gdstk.Reference(via1_constraint_7, (6.13,4.215)))
ff_d.add(gdstk.Reference(via2_constraint_1_5, (6.14,4.21)))
ff_d.add(gdstk.Reference(via3_constraint_1_2, (6.125,4.21)))
ff_d.add(gdstk.Reference(via3_constraint_1_2, (1.635,6.61)))
ff_d.add(gdstk.Reference(via1_constraint_1_8, (1.635,6.61)))
ff_d.add(gdstk.Reference(via2_constraint_7, (1.635,6.61)))
ff_d.add(gdstk.Reference(via4_constraint_3, (1.635,6.61)))
ff_d.add(gdstk.Reference(via4_constraint_3, (0.29,2.135)))
ff_d.add(gdstk.Label('VDD', (1.32,10.1), layer=8, texttype=25))
ff_d.add(gdstk.Label('VDD', (1.29,0.39), layer=8, texttype=25))
ff_d.add(gdstk.Label('VSS', (10.4,6.3), layer=8, texttype=25))
ff_d.add(gdstk.Label('VSS', (1.07,7.81), layer=8, texttype=25))
ff_d.add(gdstk.Label('VSS', (1.66,2.69), layer=8, texttype=25))
ff_d.add(gdstk.Label('VDD', (0.16,5.52), layer=8, texttype=25))
ff_d.add(gdstk.Label('VQ', (10.635,8.155), layer=50, texttype=25))
ff_d.add(gdstk.Label('VQN', (10.665,3.995), layer=50, texttype=25))
ff_d.add(gdstk.Label('VCLK', (0.415,2.265), layer=50, texttype=25))
ff_d.add(gdstk.Label('VD', (0.43,4.345), layer=50, texttype=25))
ff_d.add(gdstk.Label('VRESET', (0.44,6.755), layer=50, texttype=25))

ff_d__track_ = lib.new_cell('FF_D$(Track)')
ff_d__track_.add(gdstk.Reference(ff_d, (0,0)))

counters_fa_regs_7bits_p = lib.new_cell('Counters_FA_regs_7bits_placement')
r = gdstk.Reference(ff_d__track_, (16.355,1.275)); r.repetition = gdstk.Repetition(8, 1, v1=(10.7,0), v2=(0,0)); counters_fa_regs_7bits_p.add(r)

lib.write_gds('Counters_FA_regs_7bits_placement.gds')
